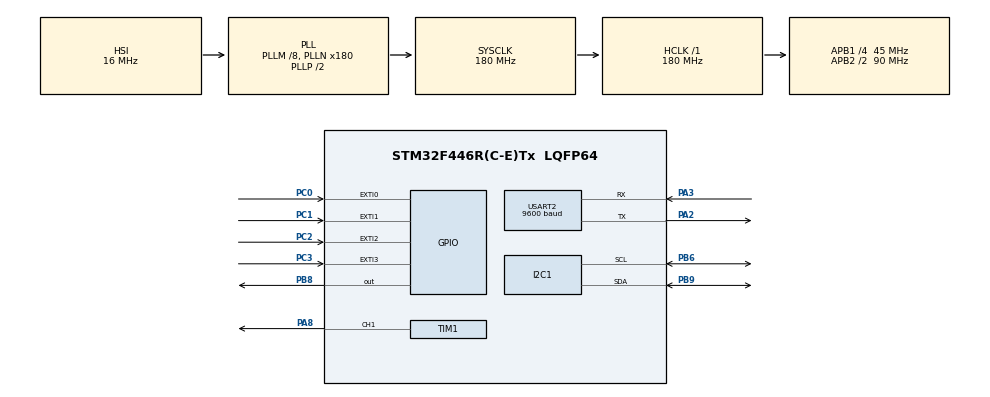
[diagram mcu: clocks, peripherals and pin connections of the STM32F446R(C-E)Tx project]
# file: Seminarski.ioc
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Dma.Request0=TIM1_CH1
Dma.TIM1_CH1.0.Direction=DMA_MEMORY_TO_PERIPH
Dma.TIM1_CH1.0.FIFOMode=DMA_FIFOMODE_DISABLE
Dma.TIM1_CH1.0.Instance=DMA2_Stream1
Dma.TIM1_CH1.0.MemDataAlignment=DMA_MDATAALIGN_HALFWORD
Dma.TIM1_CH1.0.MemInc=DMA_MINC_ENABLE
Dma.TIM1_CH1.0.Mode=DMA_NORMAL
Dma.TIM1_CH1.0.PeriphDataAlignment=DMA_PDATAALIGN_HALFWORD
Dma.TIM1_CH1.0.PeriphInc=DMA_PINC_DISABLE
Dma.TIM1_CH1.0.Priority=DMA_PRIORITY_LOW
I2C1.I2C_Mode=I2C_Standard
Mcu.Family=STM32F4
Mcu.Name=STM32F446R(C-E)Tx
Mcu.Package=LQFP64
NVIC.DMA2_Stream1_IRQn=true\:0\:0\:false\:false\:true\:false\:true\:true
NVIC.EXTI0_IRQn=true\:3\:0\:true\:false\:true\:true\:true\:true
NVIC.EXTI1_IRQn=true\:3\:0\:true\:false\:true\:true\:true\:true
NVIC.EXTI2_IRQn=true\:3\:0\:true\:false\:true\:true\:true\:true
NVIC.EXTI3_IRQn=true\:3\:0\:true\:false\:true\:true\:true\:true
NVIC.PriorityGroup=NVIC_PRIORITYGROUP_4
NVIC.TIM2_IRQn=true\:3\:0\:true\:false\:true\:true\:true\:true
NVIC.TIM3_IRQn=true\:3\:0\:true\:false\:true\:true\:true\:true
NVIC.TIM4_IRQn=true\:3\:0\:true\:false\:true\:true\:true\:true
NVIC.TIM5_IRQn=true\:3\:0\:true\:false\:true\:true\:true\:true
PA13.Mode=Serial_Wire
PA13.Signal=SYS_JTMS-SWDIO
PA14.Mode=Serial_Wire
PA14.Signal=SYS_JTCK-SWCLK
PA2.Mode=Asynchronous
PA2.Signal=USART2_TX
PA3.Mode=Asynchronous
PA3.Signal=USART2_RX
PA8.Signal=S_TIM1_CH1
PB6.Mode=I2C
PB6.Signal=I2C1_SCL
PB8.GPIO_ModeDefaultOutputPP=GPIO_MODE_OUTPUT_PP
PB8.GPIO_PuPd=GPIO_PULLUP
PB8.Signal=GPIO_Output
PB9.Mode=I2C
PB9.Signal=I2C1_SDA
PC0.GPIO_ModeDefaultEXTI=GPIO_MODE_IT_FALLING
PC0.GPIO_PuPd=GPIO_PULLUP
PC0.Signal=GPXTI0
PC1.GPIO_ModeDefaultEXTI=GPIO_MODE_IT_FALLING
PC1.GPIO_PuPd=GPIO_PULLUP
PC1.Signal=GPXTI1
PC2.GPIO_ModeDefaultEXTI=GPIO_MODE_IT_FALLING
PC2.GPIO_PuPd=GPIO_PULLUP
PC2.Signal=GPXTI2
PC3.GPIO_ModeDefaultEXTI=GPIO_MODE_IT_FALLING
PC3.GPIO_PuPd=GPIO_PULLUP
PC3.Signal=GPXTI3
ProjectManager.HeapSize=0x200
ProjectManager.StackSize=0x400
ProjectManager.TargetToolchain=STM32CubeIDE
RCC.AHBFreq_Value=180000000
RCC.APB1CLKDivider=RCC_HCLK_DIV4
RCC.APB1Freq_Value=45000000
RCC.APB1TimFreq_Value=90000000
RCC.APB2CLKDivider=RCC_HCLK_DIV2
RCC.APB2Freq_Value=90000000
RCC.APB2TimFreq_Value=180000000
RCC.CortexFreq_Value=180000000
RCC.HCLKFreq_Value=180000000
RCC.PLLM=8
RCC.PLLN=180
RCC.SYSCLKFreq_VALUE=180000000
RCC.SYSCLKSource=RCC_SYSCLKSOURCE_PLLCLK
RCC.USBFreq_Value=180000000
RCC.VCOOutputFreq_Value=360000000
SH.S_TIM1_CH1.0=TIM1_CH1,PWM Generation1 CH1
TIM1.Channel-PWM\ Generation1\ CH1=TIM_CHANNEL_1
TIM1.Period=225-1
TIM2.Period=6-1
TIM2.Prescaler=45000-1
TIM3.Period=6-1
TIM3.Prescaler=45000-1
TIM4.Period=6-1
TIM4.Prescaler=45000-1
TIM5.Period=6-1
TIM5.Prescaler=45000-1
USART2.BaudRate=9600
USART2.VirtualMode=VM_ASYNC
VP_TIM2_VS_ClockSourceINT.Mode=Internal
VP_TIM3_VS_ClockSourceINT.Mode=Internal
VP_TIM4_VS_ClockSourceINT.Mode=Internal
VP_TIM5_VS_ClockSourceINT.Mode=Internal
board=custom

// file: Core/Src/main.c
/* USER CODE BEGIN Header */
/**
 ******************************************************************************
 * @file           : main.c
 * @brief          : Main program body
 ******************************************************************************
 * @attention
 *
 * Copyright (c) 2023 STMicroelectronics.
 * All rights reserved.
 *
 * This software is licensed under terms that can be found in the LICENSE file
 * in the root directory of this software component.
 * If no LICENSE file comes with this software, it is provided AS-IS.
 *
 ******************************************************************************
 */
/* USER CODE END Header */
#include "main.h"
#include "dma.h"
#include "i2c.h"
#include "tim.h"
#include "usart.h"
#include "gpio.h"

/* USER CODE BEGIN Includes */
#include "math.h"
#include <stdio.h>
#ifdef __GNUC__
#define PUTCHAR_PROTOTYPE int __io_putchar(int ch)
#define GETCHAR_PROTOTYPE int __io_getchar(void)
#else
#define PUTCHAR_PROTOTYPE int fputc(int ch, FILE *f)
#define GETCHAR_PROTOTYPE int fgetc(FILE *f)
#endif
PUTCHAR_PROTOTYPE {
	HAL_UART_Transmit(&huart2, (uint8_t*) &ch, 1, HAL_MAX_DELAY);
	return ch;
}
GETCHAR_PROTOTYPE {
	uint8_t ch = 0;
	__HAL_UART_CLEAR_OREFLAG(&huart2);
	HAL_UART_Receive(&huart2, (uint8_t*) &ch, 1, HAL_MAX_DELAY);
	HAL_UART_Transmit(&huart2, (uint8_t*) &ch, 1, HAL_MAX_DELAY);
	return ch;
}

/* USER CODE END Includes */

void SystemClock_Config(void);

/* USER CODE BEGIN 0 */

#define n 53 				//Broj ledica u krugu
#define UseBrightness 1			//Koristimo li svijetlinu svake ledice
#define Pi 3.14159265
#define SLAVE_ADDRESS_LCD 0x4E 	// 0b01001110 Adresa I2C LCD displaya

uint8_t Tim2State = 0;		//Varijabla za provjeru pritisnutosti interupta 2
uint8_t Tim3State = 0;		//Varijabla za provjeru pritisnutosti interupta 3
uint8_t Tim4State = 0;		//Varijabla za provjeru pritisnutosti interupta 4
uint8_t Tim5State = 0;		//Varijabla za provjeru pritisnutosti interupta 5
int e1 = -1; //e11 = -1;//Pomoćne varijable za provjeru promjene stanja tipkala1 na PC0 pinu
int e2 = -1; // e21 = -1;//Pomoćne varijable za provjeru promjene stanja tipkala2 na PC1 pinu
int e3 = -1; // e31 = -1;//Pomoćne varijable za provjeru promjene stanja tipkala3 na PC2 pinu
int e4 = -1; // e41 = -1;//Pomoćne varijable za provjeru promjene stanja tipkala4 na PC3 pinu
int s1 = -1, s11 = -1;
//uint8_t RedFlag = 0;
//uint8_t v = 255 / 32;
uint8_t r = 255;
uint8_t g = 255;
uint8_t b = 255;
uint8_t k, l;
uint8_t p1 = 1; //broj igraca
uint8_t pScore[4]; //bodovi igraca
//uint8_t oneShot[4] = { 0, 0, 0, 0 };
static uint16_t global_gpio_pin = 0; //Spremanje pina kod kojeg se dogodio interupt
uint8_t LedData[n][4];				//Spremanje podataka za svaku ledicu
//uint8_t LedMod[LedMax][4];
uint16_t pwmData[(24 * n) + 50];   //
uint8_t DataSentFlag = 0;
char numbers[11] = "0123456789";
/*			RS	R/W	DB7	DB6	DB5 DB4 DB3 DB2 DB1 DB0
 * CLEAR 	0	0	0	0	0	0	0	0	0	1
 * HOME		0	0	0	0	0	0	0	0	1	-
 * ON/OFF	0	0	0	0	0	0	1	D	C	B
 */

void LcdSendCmd(char cmd) { //7-bitni podatci
	char data_u, data_l;
	uint8_t data_t[4];
	data_u = (cmd & 0xf0); //gornja vrijednost 8 bitnog podatka
	data_l = ((cmd << 4) & 0xf0); //doljnja vrijednost 8 bitnog podatka
	data_t[0] = data_u | 0x0C;  //0b00001100 en=1, rs=0
	data_t[1] = data_u | 0x08;  //0b00001000 en=0, rs=0
	data_t[2] = data_l | 0x0C;  //0b00001100 en=1, rs=0
	data_t[3] = data_l | 0x08;  //0b00001000 en=0, rs=0
	HAL_I2C_Master_Transmit(&hi2c1, SLAVE_ADDRESS_LCD, (uint8_t*) data_t, 4,
			100);
	HAL_Delay(5);
}
void LcdSendData(char data) { //7-bitni podatci
	char data_u, data_l;
	uint8_t data_t[4];
	data_u = (data & 0xf0);
	data_l = ((data << 4) & 0xf0);
	data_t[0] = data_u | 0x0D;  //0b00001101 en=1,rw=0, rs=1
	data_t[1] = data_u | 0x09;  //0b00001001 en=0, rs=1
	data_t[2] = data_l | 0x0D;  //0b00001101 en=1, rs=1
	data_t[3] = data_l | 0x09;  //0b00001001 en=0, rs=1
	HAL_I2C_Master_Transmit(&hi2c1, SLAVE_ADDRESS_LCD, (uint8_t*) data_t, 4,
			100);
	HAL_Delay(5);
}
void LcdInit(void) {
	// 4 bit initialization
	//	D7	D6	D5	D4
	HAL_Delay(50);  // Cekaj >40ms
	LcdSendCmd(0x30); 	//0b0	0	1	1
	HAL_Delay(5);  //  Cekaj >4.1ms
	LcdSendCmd(0x30);	//0b0	0	1	1
	HAL_Delay(1);  //  Cekaj >100us
	LcdSendCmd(0x30);	//0b0	0	1	1
	HAL_Delay(10);
	LcdSendCmd(0x20);   //0B0	0	1	0 4bit mode
	HAL_Delay(10);

	// display initialization
	LcdSendCmd(0x28); //0b00111000 Function set --> DL=0 (4 bit mode), N = 1 (2 line display) F = 0 (5x8 characters)
	HAL_Delay(1);
	LcdSendCmd(0x08); //Display on/off control --> D=0,C=0, B=0  ---> display off
	HAL_Delay(1);
	LcdSendCmd(0x01);  // clear display
	HAL_Delay(1);
	HAL_Delay(1);
	LcdSendCmd(0x06); //Entry mode set --> I/D = 1 (increment cursor) & S = 0 (no shift)
	HAL_Delay(1);
	LcdSendCmd(0x0C); //Display on/off control --> D = 1, C and B = 0. (Cursor and blink, last two bits)
}
void LcdSendString(char *str) {
	while (*str)
		LcdSendData(*str++);
}
void LcdPointer(int row, int col) {
	switch (row) {
	case 0:
		col |= 0x80; //1000 0000
		break;
	case 1:
		col |= 0xC0;
		break;
	case 2:
		col |= 0xC0;
		break;
	case 3:
		col |= 0x80;
		break;
	}
	LcdSendCmd(col);
}
void SetLed(int LedNum, int Red, int Green, int Blue, int brightness) {
	LedData[LedNum][0] = LedNum;	//Podatak za koju ledicu vrijedi
	LedData[LedNum][1] = Green;		//Podatak za zelenu boju
	LedData[LedNum][2] = Red;		//Podatak za crvenu boju
	LedData[LedNum][3] = Blue;		//Podatak za plavu boju

#if UseBrightness

	if (brightness > 45)
		brightness = 45;

	for (int i = 1; i < 4; i++) {
		float angle = 90 - brightness;  // in degrees
		angle = angle * Pi / 180;  // in rad
		//LedData[LedNum][i] = (LedData[LedNum][i]) / (tan(angle));
		LedData[LedNum][i] /= tan(angle);
	}

#endif
}

/*void Set_Brightness(int led, int brightness)  // 0-45
 {

 }
 */
void HAL_TIM_PWM_PulseFinishedCallback(TIM_HandleTypeDef *htim) {//povratna funkcija PWM timera
	HAL_TIM_PWM_Stop_DMA(&htim1, TIM_CHANNEL_1); //Zaustavljanje timera za slanje PWM podataka na Ledice
	DataSentFlag = 1; //Postavljanje zastavice u visoko stanje nakon poslanih podataka
}

void WS2812b_Send(void) {
	uint32_t indx = 0;	//Praćenje bitova PWM signala
	uint32_t color;		//redoslijedno spremanje vrijednosti boja za slanje

	for (int i = 0; i < n; i++) {
//#if UseBrightness
		/*color = ((LedMod[i][1] << 16) | (LedMod[i][2] << 8) | (LedMod[i][3]));
		 #else*/
		color =
				((LedData[i][1] << 16) | (LedData[i][2] << 8) | (LedData[i][3])); //Zapisujemo redoslijedno zapisivanje RGB vrijednosti
//#endif
		for (int i = 23; i >= 0; i--) {
			if (color & (1 << i)) { //Pomoću AND naredbe prolazimo kroz sve bitove i zapisujemo njihovu PWM vrijednost
				pwmData[indx] = 150;  	// Zapisujemo 2/3 of 225 za logičko "1"
			} else
				pwmData[indx] = 75;  	// Zapisujemo 1/3 of 225 za logičko "0"
			indx++; 					// slijedeći podatak
		}
	}
	for (int i = 0; i < 50; i++) { 	//Zahtijeva se 50 "0" na kraju komunikacije
		pwmData[indx] = 0;
		indx++;
	}
	HAL_TIM_PWM_Start_DMA(&htim1, TIM_CHANNEL_1, (uint32_t*) pwmData, indx); //Slanje pripremljenih podataka
	while (!DataSentFlag) {
	};			//Čekaj dok se ne primimo povratan signal(DataSentFlag = 1)
	DataSentFlag = 0; 					//resetiraj povratan signal
}

void LedCheck(int x1, uint8_t r1, uint8_t g1, uint8_t b1, uint8_t brightness1) {
	if (x1 != -1) {
		SetLed(x1, r1, g1, b1, brightness1);
	}
}
void LcdSendDataNum(uint8_t x) { // dijeljenje brojeva na decimale
	uint8_t j, d;
	j = x % 10;
	d = x / 10;
	numbers[j];
	if (d > 0)
		LcdSendData(numbers[d]);
	LcdSendData(numbers[j]);
}
void OneStep(uint8_t NLed, uint8_t Brightness) {
	CheckpointLedSet(25);

	SetLed(NLed, 0, g, 0, Brightness);

	SetLed(NLed - 1, 0, g, 0, 0);

	LedCheck(e1, r, 0, 0, 45);
	if (p1 >= 2)
		LedCheck(e2, r, g, 0, 45);
	if (p1 >= 3)
		LedCheck(e3, r, 0, b, 45);
	if (p1 >= 4)
		LedCheck(e4, 0, g, b, 45);
}
void OneLap(uint8_t speed) {
	for (int i = 0; i < n; i++) {
		k = i;
		for (int j = 0; j <= 45; j += speed) {
			OneStep(i, j);

			WS2812b_Send();
		}
		for (int j = 40; j > 0; j -= (speed * 3)) {
			OneStep(i, j);

			WS2812b_Send();
		}
	}
	if (k == n - 1) {
		SetLed(n - 1, 0, g, 0, 0);
		WS2812b_Send();
	}

}
void CheckpointLedSet(uint8_t brightness) {
	//printf("Checkpoint p1=%d Oneshot[0]==%d\n",p1, oneShot[0]);
	if (p1 >= 1) {
		SetLed(41, 255, 255, 255, brightness);
	}
	if (p1 >= 2) {
		SetLed(14, 255, 255, 255, brightness);
	}
	if (p1 >= 3) {
		SetLed(28, 255, 255, 255, brightness);
	}
	if (p1 >= 4) {
		SetLed(53, 255, 255, 255, brightness);
	}
}

void Start() {
	Buzzer(100);
	LcdSendCmd(0x01); 					//Clear display
	LcdSendString(
			"Dobrodosli,         Za pocetak klikni                       Tipku");
	HAL_Delay(50);
	//printf("Value of s1 == -1 = %d\n", s1);
	s1 = -1;

	while (s1 > 4 || s1 < 1) {
		//printf("Value of loop s1 = %d\n", s1);
		HAL_Delay(10);
	}
	LcdSendCmd(0x01); 					//Clear display
	HAL_Delay(500);
	s1 = 1;
	s11 = s1;
	uint8_t t1 = 5;
	do {
		LcdSendCmd(0x01); 					//Clear display
		LcdSendString("Broj igraca:");
		p1 = s1;
		//LcdSendData(numbers[p1]);
		LcdSendDataNum(p1);
		LcdSendString("       Igra zapocinje: ");
		//LcdSendData(numbers[t1]);
		LcdSendDataNum(t1);
		LcdSendString("s");
		HAL_Delay(1000);
		t1--;
	} while (t1 > 0);
	LcdSendCmd(0x01); 					//Clear display
	LcdSendString("Zapocnimo!!         Broj igraca je: ");
	//LcdSendData(numbers[p1]);
	LcdSendDataNum(p1);
	HAL_Delay(3000);
}

void Glavna(uint8_t rmax) {
	uint8_t r1 = 1, t1 = 7;
	for (int i = 0; i < 4; i++)
		pScore[i] = 0;
	do {

		CheckpointLedSet(25);
		do {
			LcdSendCmd(0x01); 					//Clear display
			LcdSendString("Brzina igre:x");
			//LcdSendData(numbers[r1]);
			LcdSendDataNum(r1);

			LcdSendString("      P1:");
			//LcdSendData(numbers[pScore[0]]);
			LcdSendDataNum(pScore[0]);
			if (p1 >= 2) {
				LcdSendString(" P2:");
				//LcdSendData(numbers[pScore[1]]);
				LcdSendDataNum(pScore[1]);
			} else
				LcdSendString("     ");
			if (p1 >= 3) {
				LcdSendString(" P3:");
				//LcdSendData(numbers[pScore[2]]);
				LcdSendDataNum(pScore[2]);
			} else
				LcdSendString("     ");
			if (p1 >= 4) {
				LcdSendString(" P4:");
				//LcdSendData(numbers[pScore[3]]);
				LcdSendDataNum(pScore[3]);
			} else
				LcdSendString("     ");
			LcdSendString("                     Spreman?  ");
			//LcdSendData(numbers[t1]);
			LcdSendDataNum(t1);
			if (t1 < 3)
				Buzzer(100);
			HAL_Delay(1000);
			t1--;
		} while (t1 > 0);
		for (int j = 0; j < n; j++) //reset ledica
			SetLed(j, 0, 0, 0, 0);
		WS2812b_Send();
		CheckpointLedSet(25);
		e1 = -1, e2 = -1, e3 = -1, e4 = -1;
		int m = 0;
		while (m < 3
				&& (e1 == -1 || (p1 >= 2 && e2 == -1) || (p1 >= 3 && e3 == -1)
						|| (p1 >= 4 && e4 == -1))) {
			OneLap(r1);
			m++;
		}
		/*for (int i = 0; i < 3; i++) {
		 OneLap(r1);
		 }*/
		r1 += 2;
		t1 = 5;
		if (e1 != -1)
			pScore[0] += 5 - (abs(41 - e1));
		if (e2 != -1)
			pScore[1] += 5 - (abs(14 - e2));
		if (e3 != -1)
			pScore[2] += 5 - (abs(28 - e3));
		if (e4 != -1)
			pScore[3] += 5 - (abs(53 - e4));
		for (int j = 0; j < 4; j++) {
			if (pScore[j] <= 0)
				pScore[j] = 0;
		}
	} while (r1 < rmax * 2 + 1);
	LcdSendCmd(0x01); 					//Clear display
	LcdSendString("Kraj igre           ");
	LcdSendString("P1:");
	//LcdSendData(numbers[pScore[0]]);
	LcdSendDataNum(pScore[0]);
	if (p1 >= 2) {
		LcdSendString(" P2:");
		//LcdSendData(numbers[pScore[1]]);
		LcdSendDataNum(pScore[1]);
	} else
		LcdSendString("     ");
	if (p1 >= 3) {
		LcdSendString(" P3:");
		//LcdSendData(numbers[pScore[2]]);
		LcdSendDataNum(pScore[2]);
	} else
		LcdSendString("     ");
	if (p1 >= 4) {
		LcdSendString(" P4:");
		//LcdSendData(numbers[pScore[3]]);
		LcdSendDataNum(pScore[3]);
	} else
		LcdSendString("     ");
	LcdSendString("                     Hvala na igranju");
	HAL_Delay(5000);
}
void Buzzer(uint16_t duration) {
	HAL_GPIO_WritePin(GPIOB, GPIO_PIN_8, 1);
	HAL_Delay(duration);
	HAL_GPIO_WritePin(GPIOB, GPIO_PIN_8, 0);
}
/* USER CODE END 0 */

int main(void) {

	/* MCU Configuration--------------------------------------------------------*/

	/* Reset of all peripherals, Initializes the Flash interface and the Systick. */
	HAL_Init();

	/* Configure the system clock */
	SystemClock_Config();

	/* Initialize all configured peripherals */
	MX_GPIO_Init();
	MX_DMA_Init();
	MX_TIM1_Init();
	MX_USART2_UART_Init();
	MX_TIM2_Init();
	MX_TIM3_Init();
	MX_TIM4_Init();
	MX_TIM5_Init();
	MX_I2C1_Init();
	/* USER CODE BEGIN 2 */
	LcdInit();
	HAL_Delay(1000);
	/*LcdSendString("MAAAAA BRAVOOOOOO");
	 HAL_Delay(1000);
	 LcdSendString("   NITKO U GENERACIJI:)RASTURAS KAO        CESTITAMMM!!!!");
	 */

	/* USER CODE END 2 */

	/* Infinite loop */
	/* USER CODE BEGIN WHILE */
	while (1) {
		Start();
		Glavna(5);
		/* USER CODE END WHILE */

	}
}

void SystemClock_Config(void) {
	RCC_OscInitTypeDef RCC_OscInitStruct = { 0 };
	RCC_ClkInitTypeDef RCC_ClkInitStruct = { 0 };

	/** Configure the main internal regulator output voltage
	 */
	__HAL_RCC_PWR_CLK_ENABLE();
	__HAL_PWR_VOLTAGESCALING_CONFIG(PWR_REGULATOR_VOLTAGE_SCALE1);

	/** Initializes the RCC Oscillators according to the specified parameters
	 * in the RCC_OscInitTypeDef structure.
	 */
	RCC_OscInitStruct.OscillatorType = RCC_OSCILLATORTYPE_HSI;
	RCC_OscInitStruct.HSIState = RCC_HSI_ON;
	RCC_OscInitStruct.HSICalibrationValue = RCC_HSICALIBRATION_DEFAULT;
	RCC_OscInitStruct.PLL.PLLState = RCC_PLL_ON;
	RCC_OscInitStruct.PLL.PLLSource = RCC_PLLSOURCE_HSI;
	RCC_OscInitStruct.PLL.PLLM = 8;
	RCC_OscInitStruct.PLL.PLLN = 180;
	RCC_OscInitStruct.PLL.PLLP = RCC_PLLP_DIV2;
	RCC_OscInitStruct.PLL.PLLQ = 2;
	RCC_OscInitStruct.PLL.PLLR = 2;
	if (HAL_RCC_OscConfig(&RCC_OscInitStruct) != HAL_OK) {
		Error_Handler();
	}

	/** Activate the Over-Drive mode
	 */
	if (HAL_PWREx_EnableOverDrive() != HAL_OK) {
		Error_Handler();
	}

	/** Initializes the CPU, AHB and APB buses clocks
	 */
	RCC_ClkInitStruct.ClockType = RCC_CLOCKTYPE_HCLK | RCC_CLOCKTYPE_SYSCLK
			| RCC_CLOCKTYPE_PCLK1 | RCC_CLOCKTYPE_PCLK2;
	RCC_ClkInitStruct.SYSCLKSource = RCC_SYSCLKSOURCE_PLLCLK;
	RCC_ClkInitStruct.AHBCLKDivider = RCC_SYSCLK_DIV1;
	RCC_ClkInitStruct.APB1CLKDivider = RCC_HCLK_DIV4;
	RCC_ClkInitStruct.APB2CLKDivider = RCC_HCLK_DIV2;

	if (HAL_RCC_ClockConfig(&RCC_ClkInitStruct, FLASH_LATENCY_5) != HAL_OK) {
		Error_Handler();
	}
}

/* USER CODE BEGIN 4 */
void HAL_GPIO_EXTI_Callback(uint16_t GPIO_Pin) {
//printf("Pocetak interupta\n");
	if (GPIO_Pin == GPIO_PIN_0 && Tim2State == 0) {
		Tim2State = 1;
		global_gpio_pin = GPIO_Pin;
		//printf("	Pritisnut gumb0: %d\n", global_gpio_pin);
		//__HAL_TIM_CLEAR_IT(&htim2, TIM_IT_UPDATE);
		//printf("	Pokretanje timera2\n");
		HAL_TIM_Base_Start_IT(&htim2);
	}
	if (GPIO_Pin == GPIO_PIN_1 && Tim3State == 0) {
		Tim3State = 1;
		global_gpio_pin = GPIO_Pin;
		//printf("	Pritisnut gumb1: %d\n", global_gpio_pin);
		//__HAL_TIM_CLEAR_IT(&htim3, TIM_IT_UPDATE);
		//printf("	Pokretanje timera3\n");
		HAL_TIM_Base_Start_IT(&htim3);
	}
	if (GPIO_Pin == GPIO_PIN_2 && Tim4State == 0) {
		Tim4State = 1;
		global_gpio_pin = GPIO_Pin;
		//printf("	Pritisnut gumb2: %d\n", global_gpio_pin);
		//__HAL_TIM_CLEAR_IT(&htim4, TIM_IT_UPDATE);
		//printf("	Pokretanje timera4\n");
		HAL_TIM_Base_Start_IT(&htim4);
	}
	if (GPIO_Pin == GPIO_PIN_3 && Tim5State == 0) {
		Tim5State = 1;
		global_gpio_pin = GPIO_Pin;
		//printf("	Pritisnut gumb3: %d\n", global_gpio_pin);
		//__HAL_TIM_CLEAR_IT(&htim5, TIM_IT_UPDATE);
		//printf("	Pokretanje timera5\n");
		HAL_TIM_Base_Start_IT(&htim5);
	}
}
void HAL_TIM_PeriodElapsedCallback(TIM_HandleTypeDef *htim) {
	if (htim->Instance == TIM2) {
		HAL_TIM_Base_Stop_IT(&htim2);
		Tim2State = 0;
		//printf("		Timer2 zavrsio\n");
		if (HAL_GPIO_ReadPin(GPIOC, global_gpio_pin) == GPIO_PIN_RESET) {
			if (global_gpio_pin == GPIO_PIN_0) {
				if (e1 == -1)
					e1 = k;
				s1 = 1;
				printf("Value of s1 = %d\n", s1);
				//printf("Value of e1:e11 = %d:%d\n", e1, e11);
			}
		}
	}
	if (htim->Instance == TIM3) {
		HAL_TIM_Base_Stop_IT(&htim3);
		Tim3State = 0;
		//printf("		Timer3 zavrsio\n");
		if (HAL_GPIO_ReadPin(GPIOC, global_gpio_pin) == GPIO_PIN_RESET) {
			if (global_gpio_pin == GPIO_PIN_1) {
				if (e2 == -1)
					e2 = k;
				s1 = 2;
				printf("Value of s1 = %d\n", s1);
				//printf("Value of e2:e21 = %d:%d\n", e2, e21);
			}
		}
	}
	if (htim->Instance == TIM4) {
		HAL_TIM_Base_Stop_IT(&htim4);
		Tim4State = 0;
		//printf("		Timer4 zavrsio\n");
		if (HAL_GPIO_ReadPin(GPIOC, global_gpio_pin) == GPIO_PIN_RESET) {
			if (global_gpio_pin == GPIO_PIN_2) {
				if (e3 == -1)
					e3 = k;
				s1 = 3;
				printf("Value of s1 = %d\n", s1);

			}
		}
	}
	if (htim->Instance == TIM5) {
		HAL_TIM_Base_Stop_IT(&htim5);
		Tim5State = 0;
		//printf("		Timer5 zavrsio\n");
		if (HAL_GPIO_ReadPin(GPIOC, global_gpio_pin) == GPIO_PIN_RESET) {
			if (global_gpio_pin == GPIO_PIN_3) {
				if (e4 == -1)
					e4 = k;
				s1 = 4;
				printf("Value of s1 = %d\n", s1);
				//printf("Value of e4:e41 = %d:%d\n", e4, e41);
			}
		}
	}
}
/* USER CODE END 4 */

void Error_Handler(void) {
	__disable_irq();
	while (1) {
	}
}
